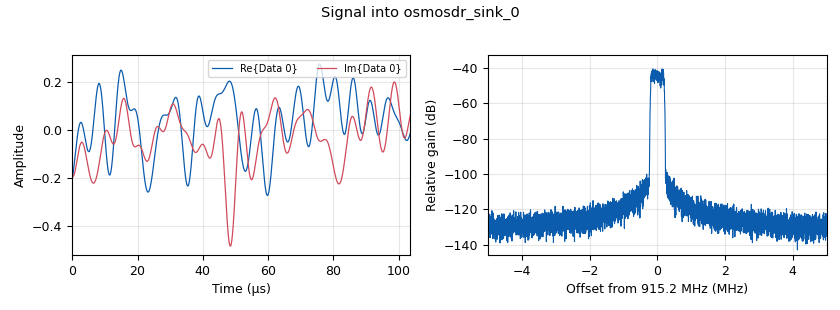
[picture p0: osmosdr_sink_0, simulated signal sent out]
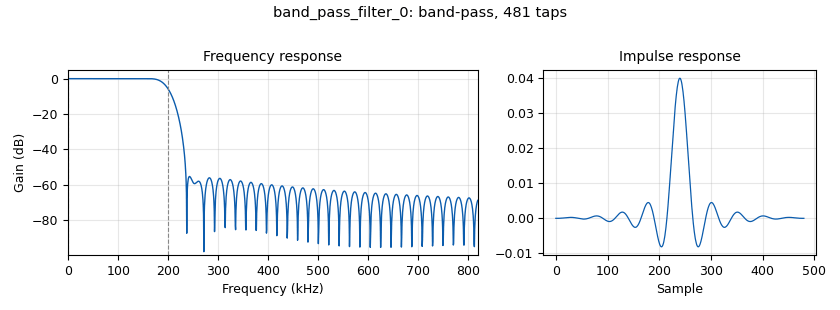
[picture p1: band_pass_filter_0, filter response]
<?xml version='1.0' encoding='utf-8'?>
<?grc format='1' created='3.7.8'?>
<flow_graph>
<block>
<key>options</key>
<param><key>id</key><value>top_block</value></param>
<param><key>category</key><value>Custom</value></param>
<param><key>generate_options</key><value>qt_gui</value></param>
</block>
<block>
<key>variable_qtgui_range</key>
<param><key>id</key><value>Fc</value></param>
<param><key>value</key><value>915200000</value></param>
<param><key>orient</key><value>Qt.Horizontal</value></param>
<param><key>start</key><value>0</value></param>
<param><key>step</key><value>1</value></param>
<param><key>stop</key><value>6e9</value></param>
</block>
<block>
<key>variable_qtgui_range</key>
<param><key>id</key><value>high_cutoff</value></param>
<param><key>value</key><value>200000</value></param>
<param><key>orient</key><value>Qt.Horizontal</value></param>
<param><key>start</key><value>0</value></param>
<param><key>step</key><value>1</value></param>
<param><key>stop</key><value>500000</value></param>
</block>
<block>
<key>variable_qtgui_range</key>
<param><key>id</key><value>low_cutoff</value></param>
<param><key>value</key><value>1</value></param>
<param><key>orient</key><value>Qt.Horizontal</value></param>
<param><key>start</key><value>0</value></param>
<param><key>step</key><value>1</value></param>
<param><key>stop</key><value>100000</value></param>
</block>
<block>
<key>variable</key>
<param><key>id</key><value>samp_rate</value></param>
<param><key>value</key><value>10e6</value></param>
</block>
<block>
<key>variable_qtgui_range</key>
<param><key>id</key><value>transition_width</value></param>
<param><key>value</key><value>50000</value></param>
<param><key>orient</key><value>Qt.Horizontal</value></param>
<param><key>start</key><value>0</value></param>
<param><key>step</key><value>1</value></param>
<param><key>stop</key><value>200000</value></param>
</block>
<block>
<key>analog_noise_source_x</key>
<param><key>id</key><value>analog_noise_source_x_0</value></param>
<param><key>amp</key><value>1</value></param>
<param><key>noise_type</key><value>analog.GR_GAUSSIAN</value></param>
<param><key>type</key><value>complex</value></param>
<param><key>seed</key><value>0</value></param>
</block>
<block>
<key>band_pass_filter</key>
<param><key>id</key><value>band_pass_filter_0</value></param>
<param><key>decim</key><value>1</value></param>
<param><key>type</key><value>fir_filter_ccf</value></param>
<param><key>gain</key><value>1</value></param>
<param><key>high_cutoff_freq</key><value>high_cutoff</value></param>
<param><key>low_cutoff_freq</key><value>low_cutoff</value></param>
<param><key>samp_rate</key><value>samp_rate</value></param>
<param><key>width</key><value>transition_width</value></param>
<param><key>win</key><value>firdes.WIN_HAMMING</value></param>
</block>
<block>
<key>osmosdr_sink</key>
<param><key>id</key><value>osmosdr_sink_0</value></param>
<param><key>ant0</key><value>0</value></param>
<param><key>bb_gain0</key><value>0</value></param>
<param><key>freq0</key><value>Fc</value></param>
<param><key>if_gain0</key><value>20</value></param>
<param><key>gain0</key><value>10</value></param>
<param><key>args</key><value>hackrf=1</value></param>
<param><key>type</key><value>fc32</value></param>
<param><key>sample_rate</key><value>samp_rate</value></param>
<param><key>sync</key><value></value></param>
</block>
<block>
<key>qtgui_waterfall_sink_x</key>
<param><key>id</key><value>qtgui_waterfall_sink_x_0</value></param>
<param><key>bw</key><value>samp_rate</value></param>
<param><key>fc</key><value>0</value></param>
<param><key>_enabled</key><value>0</value></param>
<param><key>fftsize</key><value>1024</value></param>
<param><key>showports</key><value>True</value></param>
<param><key>type</key><value>complex</value></param>
<param><key>wintype</key><value>firdes.WIN_BLACKMAN_hARRIS</value></param>
</block>
<connection><source_block_id>analog_noise_source_x_0</source_block_id><sink_block_id>band_pass_filter_0</sink_block_id><source_key>0</source_key><sink_key>0</sink_key></connection>
<connection><source_block_id>band_pass_filter_0</source_block_id><sink_block_id>osmosdr_sink_0</sink_block_id><source_key>0</source_key><sink_key>0</sink_key></connection>
<connection><source_block_id>band_pass_filter_0</source_block_id><sink_block_id>qtgui_waterfall_sink_x_0</sink_block_id><source_key>0</source_key><sink_key>0</sink_key></connection>
</flow_graph>
